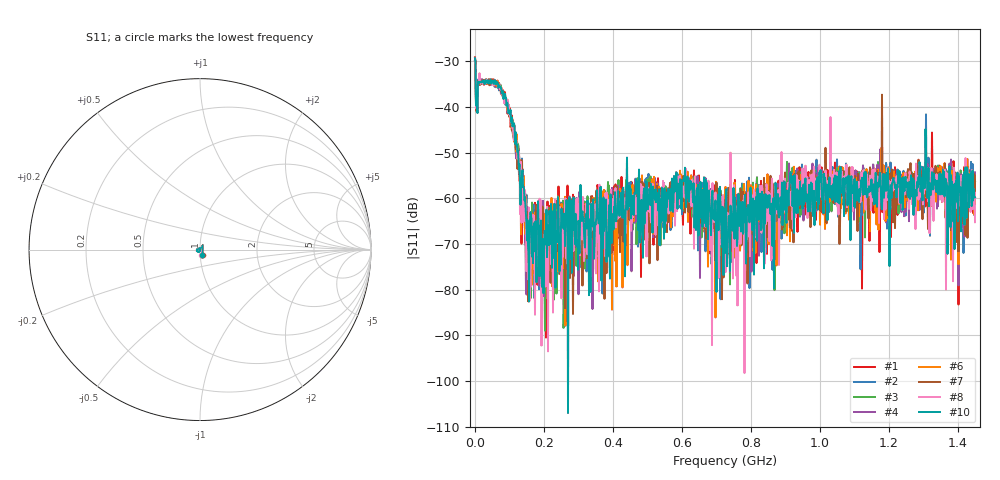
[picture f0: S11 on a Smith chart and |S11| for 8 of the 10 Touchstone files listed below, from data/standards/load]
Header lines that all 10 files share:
! Created with skrf 1.11.0 (http://scikit-rf.org).
# Hz S RI R 50.0
!freq ReS11 ImS11
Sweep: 50 kHz to 1.45 GHz
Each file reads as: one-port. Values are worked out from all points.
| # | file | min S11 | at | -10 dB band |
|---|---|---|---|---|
| 1 | rep_01.s1p | -90.5 dB | 205.9 MHz | over 1.45 GHz wide |
| 2 | rep_02.s1p | -82.1 dB | 712 MHz | over 1.45 GHz wide |
| 3 | rep_03.s1p | -89.0 dB | 203 MHz | over 1.45 GHz wide |
| 4 | rep_04.s1p | -84.3 dB | 340.8 MHz | over 1.45 GHz wide |
| 5 | rep_05.s1p | -94.6 dB | 356.7 MHz | over 1.45 GHz wide |
| 6 | rep_06.s1p | -87.9 dB | 262.5 MHz | over 1.45 GHz wide |
| 7 | rep_07.s1p | -85.3 dB | 284.2 MHz | over 1.45 GHz wide |
| 8 | rep_08.s1p | -98.3 dB | 781.6 MHz | over 1.45 GHz wide |
| 9 | rep_09.s1p | -100.1 dB | 275.5 MHz | over 1.45 GHz wide |
| 10 | rep_10.s1p | -107.0 dB | 269.7 MHz | over 1.45 GHz wide |
